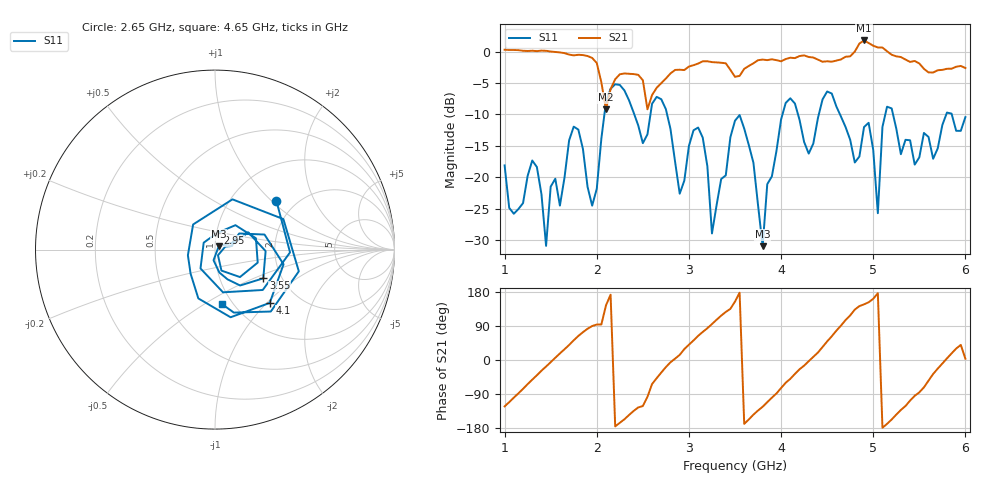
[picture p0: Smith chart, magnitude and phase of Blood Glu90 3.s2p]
! NanoVNA-App
! Date: 2024-03-21 13:46:35
! Start: 1GHz Stop: 6GHz Points: 101
! S-Parameter data: F S11 S21 S12 S22
# Hz S RI R 50
!	Frequency	S11_Real	S11_Imag	S21_Real	S21_Imag	S12_Real	S12_Imag	S22_Real	S22_Imag
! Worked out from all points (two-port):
!   101 points, 1 GHz to 6 GHz, reference 50 ohm
!   highest |S21| = 1.80 dB at 4.9 GHz (marker M1); lowest = -9.2 dB at 2.1 GHz (marker M2)
!   |S21| within 3 dB of the highest: start of sweep to 1.963 GHz; 4.653 GHz to 5.345 GHz (691.9 MHz wide, 13.8 % of centre)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
!   lowest |S11| = -31.0 dB at 3.8 GHz (marker M3), VSWR 1.06, Z = 52.1 + j1.96 ohm
!   |S11| at or under -10 dB: start of sweep to 2.083 GHz; 2.763 GHz to 4.015 GHz (1.252 GHz wide, 36.9 % of centre); 5.215 GHz to 5.792 GHz (577.2 MHz wide, 10.5 % of centre)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
!   S12 and S22 are empty: the file has one direction only
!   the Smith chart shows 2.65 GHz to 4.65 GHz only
!   S11 on the Smith chart (normalised r, x): 2.65 GHz: 1.60, +1.07; 2.95 GHz: 1.01, +0.19; 3.55 GHz: 1.61, -0.57; 4.1 GHz: 1.43, -1.04; 4.65 GHz: 0.89, -0.59
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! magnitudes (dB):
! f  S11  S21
! 1 GHz  -18.1  0.3
! 1.35 GHz  -18.4  0.1
! 1.45 GHz  -31.0  0.2
! 1.85 GHz  -15.5  -0.5
! 1.95 GHz  -24.5  -1.0
! 2.1 GHz  -8.0  -9.2
! 2.65 GHz  -7.2  -5.7
! 2.7 GHz  -7.6  -5.0
! 2.95 GHz  -20.5  -2.9
! 3.1 GHz  -12.1  -1.9
! 3.25 GHz  -29.0  -1.7
! 3.5 GHz  -11.0  -4.0
! 3.55 GHz  -10.1  -3.8
! 3.8 GHz  -31.0  -1.2
! 4.1 GHz  -7.4  -0.9
! 4.35 GHz  -14.6  -0.9
! 4.65 GHz  -10.3  -1.2
! 4.9 GHz  -12.0  1.8
! 5.05 GHz  -25.7  0.7
! 5.2 GHz  -9.0  -0.5
! 5.45 GHz  -18.0  -1.5
! 6 GHz  -10.4  -2.6
